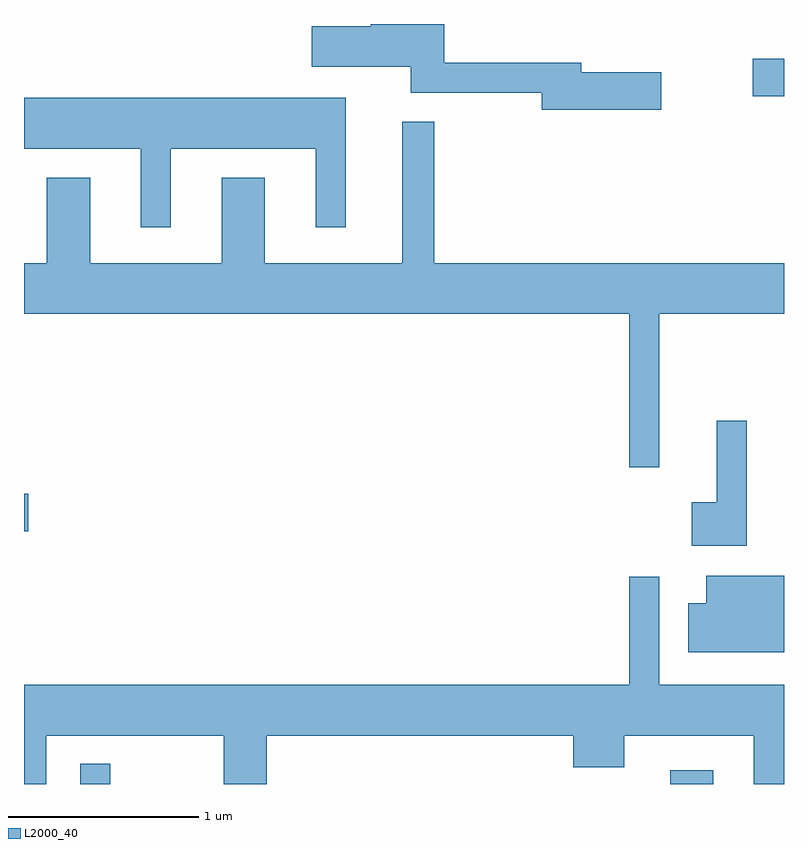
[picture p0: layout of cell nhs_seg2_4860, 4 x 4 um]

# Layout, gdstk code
import gdstk
lib = gdstk.Library(unit=1e-6, precision=1e-09)
def R(c, l, rs):  # rectangles x0, y0, x1, y1
    for r in rs: c.add(gdstk.rectangle(r[:2], r[2:], *l))
def P(c, l, *ps):  # polygons
    for p in ps: c.add(gdstk.Polygon(p, *l))
L2000_40 = (2000, 40)

nhs_seg2_4860 = lib.new_cell('nhs_seg2_4860')
R(nhs_seg2_4860, L2000_40, [(327.906,1085.802,328.064,1085.908), (331.011,1085.802,331.239,1085.874), (327.611,1087.131,327.634,1087.329), (331.446,1089.421,331.611,1089.619)])
P(nhs_seg2_4860, L2000_40, [(330.964,1089.549),(330.544,1089.549),(330.544,1089.599),(329.824,1089.599),(329.824,1089.802),(329.436,1089.802),(329.436,1089.789),(329.126,1089.789),(329.126,1089.576),(329.646,1089.576),(329.646,1089.441),(330.336,1089.441),(330.336,1089.351),(330.964,1089.351)],
  [(328.384,1089.146),(329.146,1089.146),(329.146,1088.733),(329.304,1088.733),(329.304,1089.414),(327.611,1089.414),(327.611,1089.146),(328.226,1089.146),(328.226,1088.733),(328.384,1088.733)],
  [(330.954,1088.276),(331.611,1088.276),(331.611,1088.544),(329.769,1088.544),(329.769,1089.288),(329.601,1089.288),(329.601,1088.544),(328.879,1088.544),(328.879,1088.994),(328.651,1088.994),(328.651,1088.544),(327.959,1088.544),(327.959,1088.994),(327.731,1088.994),(327.731,1088.544),(327.611,1088.544),(327.611,1088.276),(330.796,1088.276),(330.796,1087.468),(330.954,1087.468)],
  [(331.414,1087.713),(331.256,1087.713),(331.256,1087.284),(331.126,1087.284),(331.126,1087.056),(331.414,1087.056)],
  [(331.611,1086.899),(331.201,1086.899),(331.201,1086.754),(331.106,1086.754),(331.106,1086.496),(331.611,1086.496)],
  [(327.729,1086.056),(328.661,1086.056),(328.661,1085.802),(328.889,1085.802),(328.889,1086.056),(330.501,1086.056),(330.501,1085.891),(330.769,1085.891),(330.769,1086.056),(331.451,1086.056),(331.451,1085.802),(331.611,1085.802),(331.611,1086.324),(330.954,1086.324),(330.954,1086.893),(330.796,1086.893),(330.796,1086.324),(327.611,1086.324),(327.611,1085.802),(327.729,1085.802)])

lib.write_gds('nhs_seg2_4860.gds')
